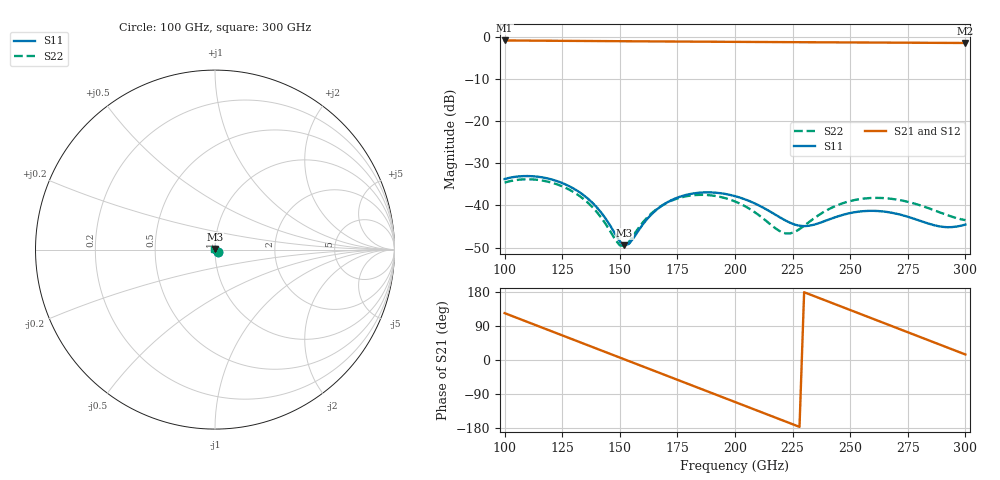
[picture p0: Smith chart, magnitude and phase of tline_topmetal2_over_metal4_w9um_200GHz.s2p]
#  GHZ S DB R 50
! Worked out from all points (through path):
!   101 points, 100 GHz to 300 GHz, reference 50 ohm
!   highest |S21| = -0.90 dB at 100 GHz (marker M1); lowest = -1.5 dB at 300 GHz (marker M2)
!   group delay of S21, straight-line fit = 6.51 ps
!   lowest |S11| = -49.5 dB at 152 GHz (marker M3), VSWR 1.01, Z = 49.9 + j0.303 ohm
!   |S11| at or under -10 dB: start of sweep to end of sweep
!   |S22| runs from -49.7 to -33.8 dB; largest |S21 - S12| = 1e-13
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100  -33.74 -37.3  -0.90 123.7  -0.90 123.7  -34.60 -35.7
108  -33.06 -57.3  -0.93 104.9  -0.93 104.9  -33.83 -56.0
116  -33.33 -77.8  -0.96 86.2  -0.96 86.2  -34.07 -76.9
124  -34.48 -99.2  -0.98 67.4  -0.98 67.4  -35.26 -98.6
134  -37.46 -128.7  -1.02 43.9  -1.02 43.9  -38.37 -128.7
144  -43.24 -168.6  -1.05 20.5  -1.05 20.5  -44.53 -171.7
150  -48.53 142.0  -1.07 6.4  -1.07 6.4  -49.46 130.9
152  -49.51 114.8  -1.08 1.7  -1.08 1.7  -49.67 102.7
162  -43.13 22.1  -1.11 -21.7  -1.11 -21.7  -42.80 21.4
168  -40.17 -2.7  -1.13 -35.8  -1.13 -35.8  -40.13 -2.1
184  -37.02 -54.1  -1.18 -73.3  -1.18 -73.3  -37.51 -52.6
192  -37.01 -78.7  -1.21 -92.1  -1.21 -92.1  -37.81 -77.2
200  -37.80 -104.6  -1.23 -110.8  -1.23 -110.8  -39.07 -103.4
212  -40.47 -149.5  -1.27 -139.0  -1.27 -139.0  -43.01 -153.1
222  -43.61 159.4  -1.29 -162.4  -1.29 -162.4  -46.65 135.9
234  -44.61 78.4  -1.33 169.4  -1.33 169.4  -43.19 48.0
242  -43.10 32.9  -1.35 150.7  -1.35 150.7  -40.54 12.3
252  -41.61 -11.5  -1.37 127.2  -1.37 127.2  -38.72 -24.1
268  -41.74 -74.9  -1.41 89.7  -1.41 89.7  -38.45 -79.2
282  -43.96 -139.6  -1.45 56.8  -1.45 56.8  -40.28 -132.9
292  -45.17 160.8  -1.48 33.3  -1.48 33.3  -42.28 -179.9
300  -44.55 111.2  -1.50 14.6  -1.50 14.6  -43.50 135.7
